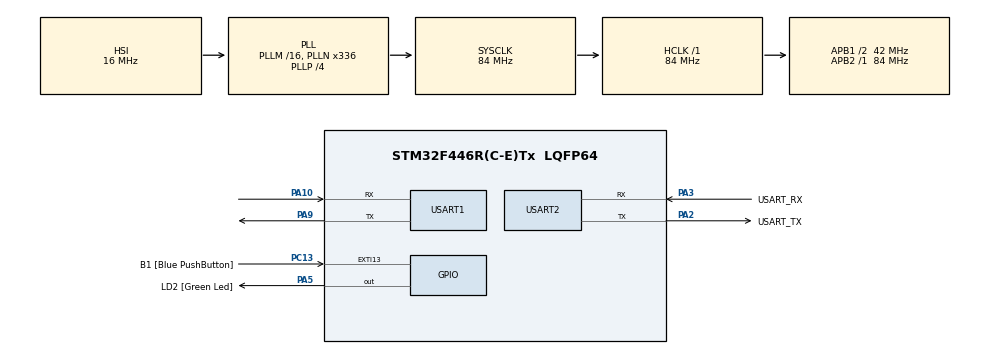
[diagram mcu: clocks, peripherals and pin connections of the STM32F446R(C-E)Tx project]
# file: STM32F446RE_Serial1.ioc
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Mcu.Family=STM32F4
Mcu.Name=STM32F446R(C-E)Tx
Mcu.Package=LQFP64
NVIC.PriorityGroup=NVIC_PRIORITYGROUP_0
PA10.Mode=Asynchronous
PA10.Signal=USART1_RX
PA13.GPIO_Label=TMS
PA13.Mode=Serial_Wire
PA13.Signal=SYS_JTMS-SWDIO
PA14.GPIO_Label=TCK
PA14.Mode=Serial_Wire
PA14.Signal=SYS_JTCK-SWCLK
PA2.GPIO_Label=USART_TX
PA2.Mode=Asynchronous
PA2.Signal=USART2_TX
PA3.GPIO_Label=USART_RX
PA3.Mode=Asynchronous
PA3.Signal=USART2_RX
PA5.GPIO_Label=LD2 [Green Led]
PA5.Signal=GPIO_Output
PA9.Mode=Asynchronous
PA9.Signal=USART1_TX
PB3.GPIO_Label=SWO
PB3.Signal=SYS_JTDO-SWO
PC13.GPIO_Label=B1 [Blue PushButton]
PC13.GPIO_ModeDefaultEXTI=GPIO_MODE_IT_FALLING
PC13.Signal=GPXTI13
PC14-OSC32_IN.Mode=LSE-External-Oscillator
PC14-OSC32_IN.Signal=RCC_OSC32_IN
PC15-OSC32_OUT.Mode=LSE-External-Oscillator
PC15-OSC32_OUT.Signal=RCC_OSC32_OUT
PH0-OSC_IN.Mode=HSE-External-Oscillator
PH0-OSC_IN.Signal=RCC_OSC_IN
PH1-OSC_OUT.Mode=HSE-External-Oscillator
PH1-OSC_OUT.Signal=RCC_OSC_OUT
ProjectManager.HeapSize=0x200
ProjectManager.StackSize=0x400
ProjectManager.TargetToolchain=TrueSTUDIO
RCC.48MHZClocksFreq_Value=84000000
RCC.AHBFreq_Value=84000000
RCC.APB1CLKDivider=RCC_HCLK_DIV2
RCC.APB1Freq_Value=42000000
RCC.APB1TimFreq_Value=84000000
RCC.APB2Freq_Value=84000000
RCC.APB2TimFreq_Value=84000000
RCC.CortexFreq_Value=84000000
RCC.FLatency-AdvancedSettings=FLASH_LATENCY_2
RCC.HCLKFreq_Value=84000000
RCC.HSE_VALUE=8000000
RCC.HSI_VALUE=16000000
RCC.PLLN=336
RCC.PLLP=RCC_PLLP_DIV4
RCC.SYSCLKFreq_VALUE=84000000
RCC.SYSCLKSource=RCC_SYSCLKSOURCE_PLLCLK
RCC.USBFreq_Value=168000000
RCC.VCOOutputFreq_Value=336000000
USART1.VirtualMode=VM_ASYNC
USART2.VirtualMode=VM_ASYNC
board=NUCLEO-F446RE

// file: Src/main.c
/* USER CODE BEGIN Header */
/**
  ******************************************************************************
  * @file           : main.c
  * @brief          : Main program body
  ******************************************************************************
  * @attention
  *
  * <h2><center>&copy; Copyright (c) 2019 STMicroelectronics.
  * All rights reserved.</center></h2>
  *
  * This software component is licensed by ST under BSD 3-Clause license,
  * the "License"; You may not use this file except in compliance with the
  * License. You may obtain a copy of the License at:
  *                        opensource.org/licenses/BSD-3-Clause
  *
  ******************************************************************************
  */
/* USER CODE END Header */

#include "main.h"

UART_HandleTypeDef huart1;
UART_HandleTypeDef huart2;

void SystemClock_Config(void);
static void MX_GPIO_Init(void);
static void MX_USART2_UART_Init(void);
static void MX_USART1_UART_Init(void);

/* USER CODE BEGIN 0 */

uint8_t uart_getc(void)
{
	uint8_t c = 0;
	char buf[1];
	HAL_UART_Receive(&huart1, (uint8_t *)buf, sizeof(buf), 0xFFFF);
	c = buf[0];
	return c;
}

void uart_putc(uint8_t c)
{
	char buf[1];
	buf[0] = c;
	HAL_UART_Transmit(&huart2, (uint8_t *)buf, sizeof(buf), 0xFFFF);
}

int get_data(uint8_t data[]){
	uint8_t head=0;
	head = uart_getc();
	if(head == 255){
		data[0] = uart_getc();
		data[1] = uart_getc();
		data[2] = uart_getc();
		return 1;
	}else return 0;
}

/* USER CODE END 0 */

int main(void)
{

  /* MCU Configuration--------------------------------------------------------*/

  /* Reset of all peripherals, Initializes the Flash interface and the Systick. */
  HAL_Init();

  /* Configure the system clock */
  SystemClock_Config();

  /* Initialize all configured peripherals */
  MX_GPIO_Init();
  MX_USART2_UART_Init();
  MX_USART1_UART_Init();

  /* Infinite loop */
  /* USER CODE BEGIN WHILE */
  while (1)
  {
	  uint8_t data[3];
	  if (get_data(data)){
		  for(int i=0;i<3;i++)uart_putc(data[i]);
		  uart_putc('\n');
	  }

  }
}

void SystemClock_Config(void)
{
  RCC_OscInitTypeDef RCC_OscInitStruct = {0};
  RCC_ClkInitTypeDef RCC_ClkInitStruct = {0};

  /** Configure the main internal regulator output voltage
  */
  __HAL_RCC_PWR_CLK_ENABLE();
  __HAL_PWR_VOLTAGESCALING_CONFIG(PWR_REGULATOR_VOLTAGE_SCALE3);
  /** Initializes the CPU, AHB and APB busses clocks
  */
  RCC_OscInitStruct.OscillatorType = RCC_OSCILLATORTYPE_HSI;
  RCC_OscInitStruct.HSIState = RCC_HSI_ON;
  RCC_OscInitStruct.HSICalibrationValue = RCC_HSICALIBRATION_DEFAULT;
  RCC_OscInitStruct.PLL.PLLState = RCC_PLL_ON;
  RCC_OscInitStruct.PLL.PLLSource = RCC_PLLSOURCE_HSI;
  RCC_OscInitStruct.PLL.PLLM = 16;
  RCC_OscInitStruct.PLL.PLLN = 336;
  RCC_OscInitStruct.PLL.PLLP = RCC_PLLP_DIV4;
  RCC_OscInitStruct.PLL.PLLQ = 2;
  RCC_OscInitStruct.PLL.PLLR = 2;
  if (HAL_RCC_OscConfig(&RCC_OscInitStruct) != HAL_OK)
  {
    Error_Handler();
  }
  /** Initializes the CPU, AHB and APB busses clocks
  */
  RCC_ClkInitStruct.ClockType = RCC_CLOCKTYPE_HCLK|RCC_CLOCKTYPE_SYSCLK
                              |RCC_CLOCKTYPE_PCLK1|RCC_CLOCKTYPE_PCLK2;
  RCC_ClkInitStruct.SYSCLKSource = RCC_SYSCLKSOURCE_PLLCLK;
  RCC_ClkInitStruct.AHBCLKDivider = RCC_SYSCLK_DIV1;
  RCC_ClkInitStruct.APB1CLKDivider = RCC_HCLK_DIV2;
  RCC_ClkInitStruct.APB2CLKDivider = RCC_HCLK_DIV1;

  if (HAL_RCC_ClockConfig(&RCC_ClkInitStruct, FLASH_LATENCY_2) != HAL_OK)
  {
    Error_Handler();
  }
}

static void MX_USART1_UART_Init(void)
{

  huart1.Instance = USART1;
  huart1.Init.BaudRate = 9600;
  huart1.Init.WordLength = UART_WORDLENGTH_8B;
  huart1.Init.StopBits = UART_STOPBITS_1;
  huart1.Init.Parity = UART_PARITY_NONE;
  huart1.Init.Mode = UART_MODE_TX_RX;
  huart1.Init.HwFlowCtl = UART_HWCONTROL_NONE;
  huart1.Init.OverSampling = UART_OVERSAMPLING_16;
  if (HAL_UART_Init(&huart1) != HAL_OK)
  {
    Error_Handler();
  }

}

static void MX_USART2_UART_Init(void)
{

  huart2.Instance = USART2;
  huart2.Init.BaudRate = 115200;
  huart2.Init.WordLength = UART_WORDLENGTH_8B;
  huart2.Init.StopBits = UART_STOPBITS_1;
  huart2.Init.Parity = UART_PARITY_NONE;
  huart2.Init.Mode = UART_MODE_TX_RX;
  huart2.Init.HwFlowCtl = UART_HWCONTROL_NONE;
  huart2.Init.OverSampling = UART_OVERSAMPLING_16;
  if (HAL_UART_Init(&huart2) != HAL_OK)
  {
    Error_Handler();
  }

}

static void MX_GPIO_Init(void)
{
  GPIO_InitTypeDef GPIO_InitStruct = {0};

  /* GPIO Ports Clock Enable */
  __HAL_RCC_GPIOC_CLK_ENABLE();
  __HAL_RCC_GPIOH_CLK_ENABLE();
  __HAL_RCC_GPIOA_CLK_ENABLE();
  __HAL_RCC_GPIOB_CLK_ENABLE();

  /*Configure GPIO pin Output Level */
  HAL_GPIO_WritePin(LD2_GPIO_Port, LD2_Pin, GPIO_PIN_RESET);

  /*Configure GPIO pin : B1_Pin */
  GPIO_InitStruct.Pin = B1_Pin;
  GPIO_InitStruct.Mode = GPIO_MODE_IT_FALLING;
  GPIO_InitStruct.Pull = GPIO_NOPULL;
  HAL_GPIO_Init(B1_GPIO_Port, &GPIO_InitStruct);

  /*Configure GPIO pin : LD2_Pin */
  GPIO_InitStruct.Pin = LD2_Pin;
  GPIO_InitStruct.Mode = GPIO_MODE_OUTPUT_PP;
  GPIO_InitStruct.Pull = GPIO_NOPULL;
  GPIO_InitStruct.Speed = GPIO_SPEED_FREQ_LOW;
  HAL_GPIO_Init(LD2_GPIO_Port, &GPIO_InitStruct);

}

void Error_Handler(void)
{
}

/************************ (C) COPYRIGHT STMicroelectronics *****END OF FILE****/
